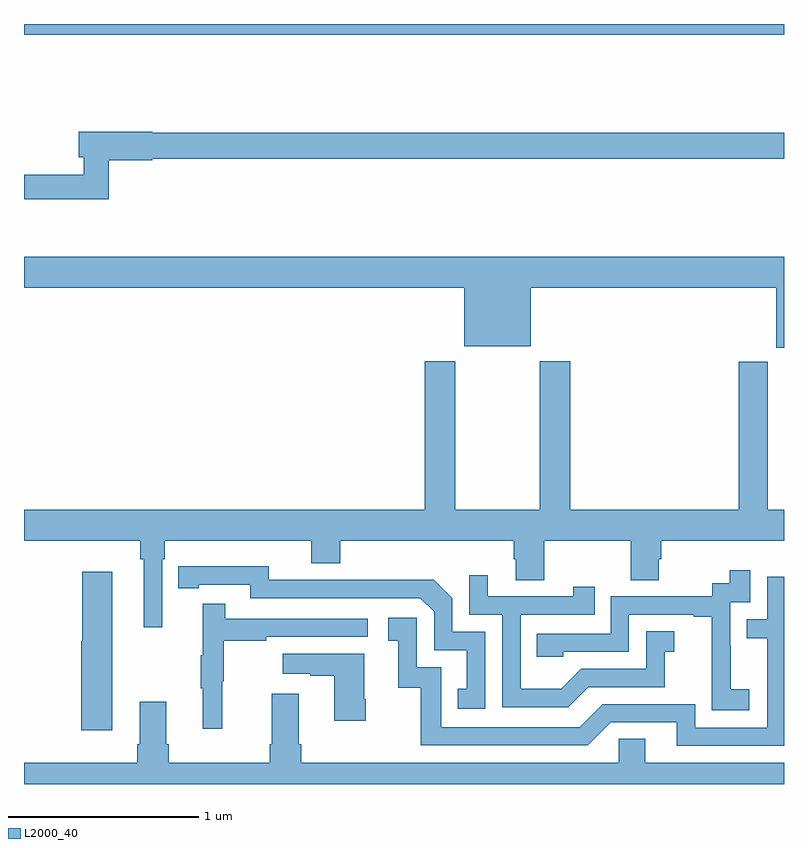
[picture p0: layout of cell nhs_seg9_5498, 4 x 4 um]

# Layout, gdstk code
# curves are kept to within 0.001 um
import gdstk
lib = gdstk.Library(unit=1e-6, precision=1e-09)
def R(c, l, rs):  # rectangles x0, y0, x1, y1
    for r in rs: c.add(gdstk.rectangle(r[:2], r[2:], *l))
def P(c, l, *ps):  # polygons
    for p in ps: c.add(gdstk.Polygon(p, *l))
L2000_40 = (2000, 40)

nhs_seg9_5498 = lib.new_cell('nhs_seg9_5498')
R(nhs_seg9_5498, L2000_40, [(431,1172.444,435,1172.5)])
P(nhs_seg9_5498, L2000_40, [(431.447,1171.784),(431.676,1171.784),(431.676,1171.792),(435,1171.792),(435,1171.928),(431.676,1171.928),(431.676,1171.934),(431.288,1171.934),(431.288,1171.799),(431.315,1171.799),(431.315,1171.706),(431,1171.706),(431,1171.578),(431.447,1171.578)],
  [(435,1171.276),(431,1171.276),(431,1171.112),(433.316,1171.112),(433.316,1170.803),(433.666,1170.803),(433.666,1171.112),(434.96,1171.112),(434.96,1170.795),(435,1170.795)],
  [(431.727,1169.684),(431.741,1169.684),(431.741,1169.78),(432.512,1169.78),(432.512,1169.663),(432.665,1169.663),(432.665,1169.78),(433.577,1169.78),(433.577,1169.682),(433.589,1169.682),(433.589,1169.572),(433.737,1169.572),(433.737,1169.78),(434.194,1169.78),(434.194,1169.572),(434.341,1169.572),(434.341,1169.682),(434.354,1169.682),(434.354,1169.78),(435,1169.78),(435,1169.944),(434.914,1169.944),(434.914,1170.723),(434.762,1170.723),(434.762,1169.944),(433.874,1169.944),(433.874,1170.724),(433.714,1170.724),(433.714,1169.944),(433.269,1169.944),(433.269,1170.724),(433.109,1170.724),(433.109,1169.944),(431,1169.944),(431,1169.78),(431.611,1169.78),(431.611,1169.684),(431.63,1169.684),(431.63,1169.325),(431.727,1169.325)],
  [(433.428,1169.301),(433.254,1169.301),(433.254,1169.478),(433.156,1169.576),(432.748,1169.576),(432.748,1169.574),(432.288,1169.574),(432.288,1169.647),(431.812,1169.646),(431.812,1169.53),(431.92,1169.53),(431.92,1169.55),(432.192,1169.55),(432.192,1169.478),(433.086,1169.478),(433.158,1169.406),(433.158,1169.205),(433.331,1169.205),(433.331,1169.001),(433.282,1169.001),(433.282,1168.896),(433.428,1168.896)],
  [(434.818,1168.999),(434.72,1168.999),(434.72,1169.228),(434.718,1169.228),(434.718,1169.457),(434.823,1169.457),(434.823,1169.626),(434.715,1169.626),(434.715,1169.556),(434.622,1169.556),(434.622,1169.487),(434.088,1169.487),(434.088,1169.292),(433.699,1169.292),(433.699,1169.169),(433.839,1169.169),(433.839,1169.196),(434.184,1169.196),(434.184,1169.391),(434.525,1169.391),(434.525,1169.379),(434.621,1169.379),(434.621,1169.095),(434.62,1169.095),(434.62,1168.889),(434.818,1168.889)],
  [(431.464,1169.617),(431.306,1169.617),(431.306,1169.253),(431.3,1169.253),(431.3,1168.782),(431.464,1168.782)],
  [(433.969,1169.01),(434.373,1169.01),(434.373,1169.195),(434.422,1169.195),(434.422,1169.305),(434.274,1169.305),(434.274,1169.106),(433.932,1169.106),(433.828,1169.002),(433.614,1169.002),(433.614,1169.391),(434.003,1169.391),(434.003,1169.539),(433.892,1169.539),(433.892,1169.487),(433.441,1169.487),(433.441,1169.599),(433.344,1169.599),(433.344,1169.391),(433.518,1169.391),(433.518,1168.905),(433.864,1168.905)],
  [(435,1169.592),(434.913,1169.592),(434.913,1169.367),(434.803,1169.367),(434.803,1169.266),(434.913,1169.266),(434.913,1168.797),(434.532,1168.797),(434.532,1168.92),(434.046,1168.92),(433.926,1168.8),(433.197,1168.8),(433.197,1169.115),(433.068,1169.115),(433.068,1169.374),(432.918,1169.374),(432.918,1169.253),(432.971,1169.253),(432.971,1169.007),(433.089,1169.007),(433.089,1168.704),(433.968,1168.704),(434.088,1168.824),(434.435,1168.824),(434.435,1168.701),(435,1168.701)],
  [(432.044,1169.04),(432.052,1169.04),(432.052,1169.254),(432.275,1169.254),(432.275,1169.274),(432.808,1169.274),(432.808,1169.37),(432.059,1169.37),(432.059,1169.449),(431.942,1169.449),(431.942,1169.177),(431.931,1169.177),(431.931,1169.003),(431.942,1169.003),(431.942,1168.791),(432.044,1168.791)],
  [(432.798,1168.945),(432.79,1168.945),(432.79,1169.185),(432.363,1169.185),(432.363,1169.081),(432.506,1169.081),(432.506,1169.071),(432.632,1169.071),(432.632,1168.833),(432.798,1168.833)],
  [(435,1168.612),(434.269,1168.612),(434.269,1168.739),(434.13,1168.739),(434.13,1168.612),(432.458,1168.612),(432.458,1168.708),(432.445,1168.708),(432.445,1168.975),(432.305,1168.975),(432.305,1168.708),(432.293,1168.708),(432.293,1168.612),(431.762,1168.612),(431.762,1168.708),(431.749,1168.708),(431.749,1168.933),(431.609,1168.933),(431.609,1168.708),(431.597,1168.708),(431.597,1168.612),(431,1168.612),(431,1168.5),(435,1168.5)])

lib.write_gds('nhs_seg9_5498.gds')
